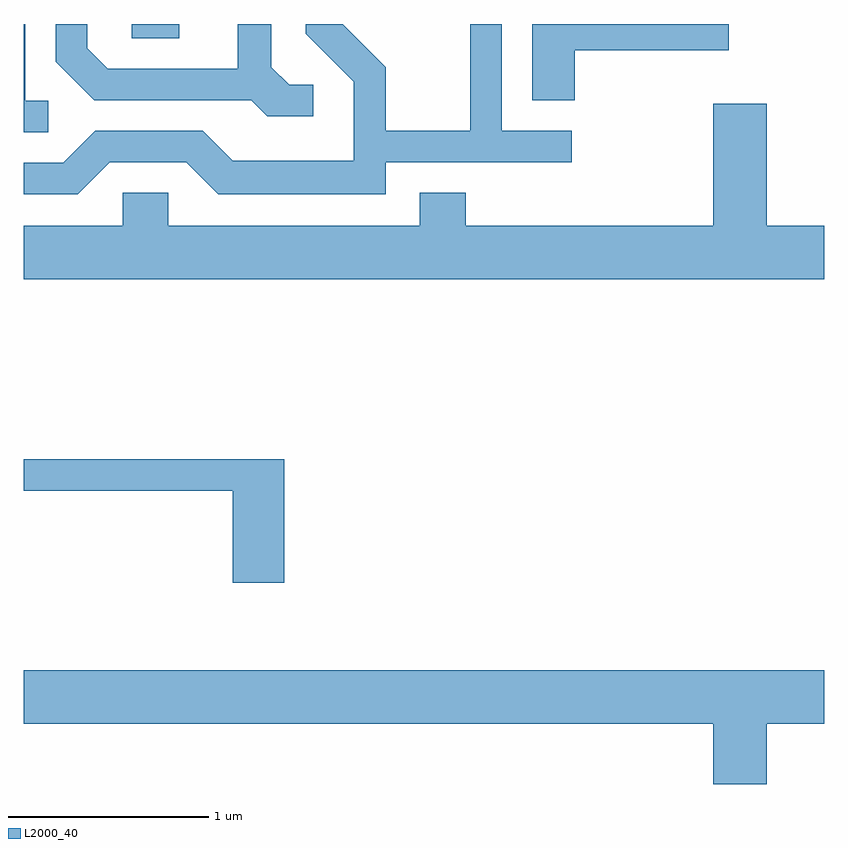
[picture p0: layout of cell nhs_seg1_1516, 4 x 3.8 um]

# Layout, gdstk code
import gdstk
lib = gdstk.Library(unit=1e-6, precision=1e-09)
def R(c, l, rs):  # rectangles x0, y0, x1, y1
    for r in rs: c.add(gdstk.rectangle(r[:2], r[2:], *l))
def P(c, l, *ps):  # polygons
    for p in ps: c.add(gdstk.Polygon(p, *l))
L2000_40 = (2000, 40)

nhs_seg1_1516 = lib.new_cell('nhs_seg1_1516')
R(nhs_seg1_1516, L2000_40, [(232.151,929.641,232.389,929.712)])
P(nhs_seg1_1516, L2000_40, [(233.058,929.409),(232.937,929.409),(232.849,929.497),(232.849,929.712),(232.681,929.712),(232.681,929.489),(232.032,929.489),(231.929,929.592),(231.929,929.712),(231.771,929.712),(231.771,929.524),(231.964,929.331),(232.749,929.331),(232.829,929.251),(233.058,929.251)],
  [(232.042,929.021),(232.424,929.021),(232.584,928.861),(233.419,928.861),(233.419,929.021),(234.348,929.021),(234.348,929.179),(233.999,929.179),(233.999,929.712),(233.841,929.712),(233.841,929.179),(233.419,929.179),(233.419,929.497),(233.204,929.712),(233.021,929.712),(233.021,929.664),(233.261,929.424),(233.261,929.029),(232.657,929.029),(232.507,929.179),(231.969,929.179),(231.809,929.019),(231.611,929.019),(231.611,928.861),(231.882,928.861)],
  [(231.733,929.329),(231.619,929.329),(231.619,929.712),(231.611,929.712),(231.611,929.171),(231.733,929.171)],
  [(234.364,929.581),(235.134,929.581),(235.134,929.712),(234.151,929.712),(234.151,929.331),(234.364,929.331)],
  [(235.611,928.704),(235.324,928.704),(235.324,929.314),(235.056,929.314),(235.056,928.704),(233.819,928.704),(233.819,928.869),(233.591,928.869),(233.591,928.704),(232.334,928.704),(232.334,928.869),(232.106,928.869),(232.106,928.704),(231.611,928.704),(231.611,928.436),(235.611,928.436)],
  [(232.914,927.539),(231.611,927.539),(231.611,927.381),(232.656,927.381),(232.656,926.921),(232.914,926.921)],
  [(235.324,926.216),(235.611,926.216),(235.611,926.484),(231.611,926.484),(231.611,926.216),(235.056,926.216),(235.056,925.916),(235.324,925.916)])

lib.write_gds('nhs_seg1_1516.gds')
